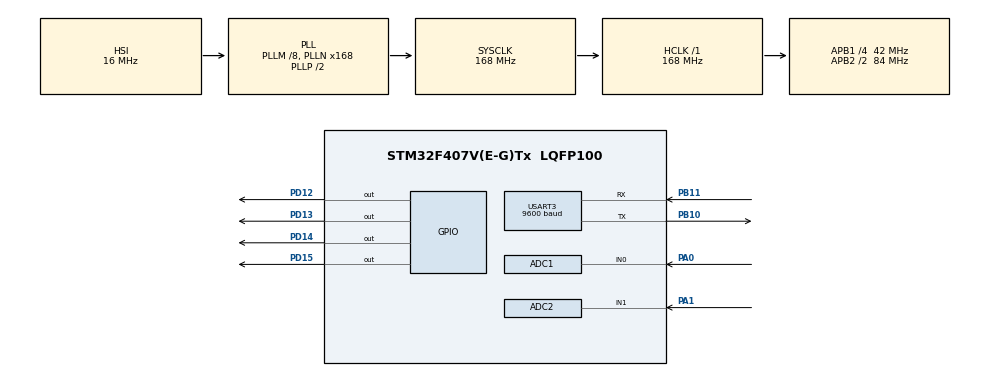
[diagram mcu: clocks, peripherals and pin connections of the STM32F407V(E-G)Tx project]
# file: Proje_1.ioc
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ADC1.Channel-0\#ChannelRegularConversion=ADC_CHANNEL_0
ADC1.Channel-1\#ChannelRegularConversion=ADC_CHANNEL_VREFINT
ADC1.Channel-2\#ChannelRegularConversion=ADC_CHANNEL_TEMPSENSOR
ADC1.ContinuousConvMode=ENABLE
ADC1.NbrOfConversion=3
ADC1.NbrOfConversionFlag=1
ADC1.Rank-0\#ChannelRegularConversion=1
ADC1.Rank-1\#ChannelRegularConversion=2
ADC1.Rank-2\#ChannelRegularConversion=3
ADC1.SamplingTime-0\#ChannelRegularConversion=ADC_SAMPLETIME_56CYCLES
ADC1.SamplingTime-1\#ChannelRegularConversion=ADC_SAMPLETIME_56CYCLES
ADC1.SamplingTime-2\#ChannelRegularConversion=ADC_SAMPLETIME_56CYCLES
ADC1.ScanConvMode=ENABLE
ADC1.master=1
ADC2.Channel-0\#ChannelRegularConversion=ADC_CHANNEL_1
ADC2.ContinuousConvMode=ENABLE
ADC2.NbrOfConversionFlag=1
ADC2.Rank-0\#ChannelRegularConversion=1
ADC2.SamplingTime-0\#ChannelRegularConversion=ADC_SAMPLETIME_56CYCLES
Mcu.Family=STM32F4
Mcu.Name=STM32F407V(E-G)Tx
Mcu.Package=LQFP100
NVIC.ADC_IRQn=true\:0\:0\:false\:false\:true\:true\:true\:true
NVIC.PriorityGroup=NVIC_PRIORITYGROUP_4
PA0-WKUP.Signal=ADCx_IN0
PA1.Signal=ADCx_IN1
PB10.Mode=Asynchronous
PB10.Signal=USART3_TX
PB11.Mode=Asynchronous
PB11.Signal=USART3_RX
PD12.Signal=GPIO_Output
PD13.Signal=GPIO_Output
PD14.Signal=GPIO_Output
PD15.Signal=GPIO_Output
PH0-OSC_IN.Mode=HSE-External-Oscillator
PH0-OSC_IN.Signal=RCC_OSC_IN
PH1-OSC_OUT.Mode=HSE-External-Oscillator
PH1-OSC_OUT.Signal=RCC_OSC_OUT
ProjectManager.HeapSize=0x200
ProjectManager.StackSize=0x400
ProjectManager.TargetToolchain=STM32CubeIDE
RCC.48MHZClocksFreq_Value=84000000
RCC.AHBFreq_Value=168000000
RCC.APB1CLKDivider=RCC_HCLK_DIV4
RCC.APB1Freq_Value=42000000
RCC.APB1TimFreq_Value=84000000
RCC.APB2CLKDivider=RCC_HCLK_DIV2
RCC.APB2Freq_Value=84000000
RCC.APB2TimFreq_Value=168000000
RCC.CortexFreq_Value=168000000
RCC.HCLKFreq_Value=168000000
RCC.HSE_VALUE=8000000
RCC.HSI_VALUE=16000000
RCC.LSE_VALUE=32768
RCC.PLLM=8
RCC.PLLN=168
RCC.SYSCLKFreq_VALUE=168000000
RCC.SYSCLKSource=RCC_SYSCLKSOURCE_PLLCLK
RCC.VCOOutputFreq_Value=336000000
SH.ADCx_IN0.0=ADC1_IN0,IN0
SH.ADCx_IN1.0=ADC2_IN1,IN1
USART3.BaudRate=9600
USART3.VirtualMode=VM_ASYNC
VP_ADC1_TempSens_Input.Mode=IN-TempSens
VP_ADC1_Vref_Input.Mode=IN-Vrefint
board=custom

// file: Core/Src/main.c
/* USER CODE BEGIN Header */
/**
  ******************************************************************************
  * @file           : main.c
  * @brief          : Main program body
  ******************************************************************************
  * @attention
  *
  * Copyright (c) 2023 STMicroelectronics.
  * All rights reserved.
  *
  * This software is licensed under terms that can be found in the LICENSE file
  * in the root directory of this software component.
  * If no LICENSE file comes with this software, it is provided AS-IS.
  *
  ******************************************************************************
  */
/* USER CODE END Header */
#include "main.h"
#include "string.h"
#include <stdio.h>
/* USER CODE BEGIN Includes */

//sıcaklık sensörü için gerekli tanımlamaları yaptım
#define VREFIN_CAL ((uint16_t*)((uint32_t)0x1FFF7A2A))
#define V25 (float) 0.76
#define Avg_slope (float) 0.0025  // 25mV=0.0025V

uint16_t adc1_value[3], adc2_value;   // adc2 okuma tek bir tane oldugu icin default zaten
float Vadc1=0 , Vadc2=0 , Vsense=0 , Vdda=0, temperature=0;
int count=0;

char buffer[20];

/* USER CODE END Includes */

ADC_HandleTypeDef hadc1;
ADC_HandleTypeDef hadc2;

UART_HandleTypeDef huart3;

void SystemClock_Config(void);
static void MX_GPIO_Init(void);
static void MX_ADC1_Init(void);
static void MX_ADC2_Init(void);
static void MX_USART3_UART_Init(void);

/* USER CODE BEGIN 0 */
void HAL_ADC_ConvCpltCallback(ADC_HandleTypeDef* hadc)

{
     if(__HAL_ADC_GET_FLAG(&hadc1, ADC_FLAG_EOC)!= RESET)
     {
        adc1_value[count] = HAL_ADC_GetValue(&hadc1);
        count++;
/*count=0 => channel 0
  count=1 => Vrefint channel
  count=2 => Temperature channel  */
        if(count==3)
          count=0;

        Vdda = (float) 3.3 * (*VREFIN_CAL) / adc1_value[1];
        Vadc1 = Vdda * adc1_value[0] / 4095;  /*12 bit oldugu icin 4095*/
        Vsense = Vdda * adc1_value[2] / 4095;

        temperature = ((Vsense-V25)/Avg_slope)+25;

     }

      if(__HAL_ADC_GET_FLAG(&hadc2, ADC_FLAG_EOC)!= RESET)
     {
       adc2_value = HAL_ADC_GetValue(&hadc2);

       Vadc2 = Vdda * adc2_value / 4095;

     }
}

/* USER CODE END 0 */

int main(void)
{

  /* MCU Configuration--------------------------------------------------------*/

  /* Reset of all peripherals, Initializes the Flash interface and the Systick. */
  HAL_Init();

  /* Configure the system clock */
  SystemClock_Config();

  /* Initialize all configured peripherals */
  MX_GPIO_Init();
  MX_ADC1_Init();
  MX_ADC2_Init();
  MX_USART3_UART_Init();
  /* USER CODE BEGIN 2 */

  HAL_ADC_Start_IT(&hadc1);
   HAL_ADC_Start_IT(&hadc2);

  /* USER CODE END 2 */

  /* Infinite loop */
  while (1)
  {

    /* USER CODE BEGIN 3 */

	                HAL_UART_Receive(&huart3,(uint8_t*)buffer , sizeof(buffer), 100);   //HAL_UART_Receive(&huart3,(uint8_t*)buffer , 20, 100);

	               if (strncmp(buffer, "temp", 4) == 0)
	               	  {

	                	 sprintf(buffer, "%.2f", temperature);

	             HAL_UART_Transmit(&huart3, (uint8_t*)buffer, sprintf(buffer, "%.2f\n", temperature), 100);
}

  //sprintf(buffer, "%.2f\n", temperature) ifadesi, buffer içine temperature değerini "%.2f\n" formatına göre formatlayarak yazıyor. sprintf() işlevi, formatlanmış verinin boyutunu döndürerek,
	               //bu boyutu HAL_UART_Transmit() işlevine aktarıyor. Böylece, formatlanmış veri huart3 üzerinden iletilmiş oluyor.

/*

HAL_UART_Receive(&huart3, (uint8_t*)buffer, sizeof(buffer), 1000);

	  if (strncmp(buffer, "temperature=?", 13) == 0)
	  	  {

		 HAL_GPIO_WritePin(GPIOD, GPIO_PIN_12 |GPIO_PIN_13|GPIO_PIN_14|GPIO_PIN_15, GPIO_PIN_SET);
		 HAL_Delay(500);

 HAL_UART_Transmit(&huart3, (uint8_t*)buffer, sprintf(buffer, "Temperature: %.2f \n", temperature),100);

	  	  }
*/
//	  int len = sprintf(temp, "Temperature: %.2f\r\n", temperature);
//	  HAL_UART_Transmit(&huart3, (uint8_t*)temp, len, 1000);

	/*  float temp;

	  HAL_UART_Receive(&huart3, (uint8_t *)&temperature, 100, 1000);

	  if (strncmp((const char *)&temperature, "temperature=?", 13) == 0)

	     {
	         HAL_GPIO_WritePin(GPIOD, GPIO_PIN_12 | GPIO_PIN_13 | GPIO_PIN_14 | GPIO_PIN_15, GPIO_PIN_SET);
	         HAL_Delay(500);

	         temp = temperature; // Sıcaklık değerini ölç

	         char response[20];

	         int len = sprintf(response, "Temperature: %.2f \n", (float)temp);

	         HAL_UART_Transmit(&huart3, (uint8_t*)response, len, 1000);
	     }
*/
  }

  /* USER CODE END 3 */
}

void SystemClock_Config(void)
{
  RCC_OscInitTypeDef RCC_OscInitStruct = {0};
  RCC_ClkInitTypeDef RCC_ClkInitStruct = {0};

  /** Configure the main internal regulator output voltage
  */
  __HAL_RCC_PWR_CLK_ENABLE();
  __HAL_PWR_VOLTAGESCALING_CONFIG(PWR_REGULATOR_VOLTAGE_SCALE1);

  /** Initializes the RCC Oscillators according to the specified parameters
  * in the RCC_OscInitTypeDef structure.
  */
  RCC_OscInitStruct.OscillatorType = RCC_OSCILLATORTYPE_HSI;
  RCC_OscInitStruct.HSIState = RCC_HSI_ON;
  RCC_OscInitStruct.HSICalibrationValue = RCC_HSICALIBRATION_DEFAULT;
  RCC_OscInitStruct.PLL.PLLState = RCC_PLL_ON;
  RCC_OscInitStruct.PLL.PLLSource = RCC_PLLSOURCE_HSI;
  RCC_OscInitStruct.PLL.PLLM = 8;
  RCC_OscInitStruct.PLL.PLLN = 168;
  RCC_OscInitStruct.PLL.PLLP = RCC_PLLP_DIV2;
  RCC_OscInitStruct.PLL.PLLQ = 4;
  if (HAL_RCC_OscConfig(&RCC_OscInitStruct) != HAL_OK)
  {
    Error_Handler();
  }

  /** Initializes the CPU, AHB and APB buses clocks
  */
  RCC_ClkInitStruct.ClockType = RCC_CLOCKTYPE_HCLK|RCC_CLOCKTYPE_SYSCLK
                              |RCC_CLOCKTYPE_PCLK1|RCC_CLOCKTYPE_PCLK2;
  RCC_ClkInitStruct.SYSCLKSource = RCC_SYSCLKSOURCE_PLLCLK;
  RCC_ClkInitStruct.AHBCLKDivider = RCC_SYSCLK_DIV1;
  RCC_ClkInitStruct.APB1CLKDivider = RCC_HCLK_DIV4;
  RCC_ClkInitStruct.APB2CLKDivider = RCC_HCLK_DIV2;

  if (HAL_RCC_ClockConfig(&RCC_ClkInitStruct, FLASH_LATENCY_5) != HAL_OK)
  {
    Error_Handler();
  }
}

static void MX_ADC1_Init(void)
{

  ADC_ChannelConfTypeDef sConfig = {0};

  /** Configure the global features of the ADC (Clock, Resolution, Data Alignment and number of conversion)
  */
  hadc1.Instance = ADC1;
  hadc1.Init.ClockPrescaler = ADC_CLOCK_SYNC_PCLK_DIV4;
  hadc1.Init.Resolution = ADC_RESOLUTION_12B;
  hadc1.Init.ScanConvMode = ENABLE;
  hadc1.Init.ContinuousConvMode = ENABLE;
  hadc1.Init.DiscontinuousConvMode = DISABLE;
  hadc1.Init.ExternalTrigConvEdge = ADC_EXTERNALTRIGCONVEDGE_NONE;
  hadc1.Init.ExternalTrigConv = ADC_SOFTWARE_START;
  hadc1.Init.DataAlign = ADC_DATAALIGN_RIGHT;
  hadc1.Init.NbrOfConversion = 3;
  hadc1.Init.DMAContinuousRequests = DISABLE;
  hadc1.Init.EOCSelection = ADC_EOC_SINGLE_CONV;
  if (HAL_ADC_Init(&hadc1) != HAL_OK)
  {
    Error_Handler();
  }

  /** Configure for the selected ADC regular channel its corresponding rank in the sequencer and its sample time.
  */
  sConfig.Channel = ADC_CHANNEL_0;
  sConfig.Rank = 1;
  sConfig.SamplingTime = ADC_SAMPLETIME_56CYCLES;
  if (HAL_ADC_ConfigChannel(&hadc1, &sConfig) != HAL_OK)
  {
    Error_Handler();
  }

  /** Configure for the selected ADC regular channel its corresponding rank in the sequencer and its sample time.
  */
  sConfig.Channel = ADC_CHANNEL_VREFINT;
  sConfig.Rank = 2;
  if (HAL_ADC_ConfigChannel(&hadc1, &sConfig) != HAL_OK)
  {
    Error_Handler();
  }

  /** Configure for the selected ADC regular channel its corresponding rank in the sequencer and its sample time.
  */
  sConfig.Channel = ADC_CHANNEL_TEMPSENSOR;
  sConfig.Rank = 3;
  if (HAL_ADC_ConfigChannel(&hadc1, &sConfig) != HAL_OK)
  {
    Error_Handler();
  }

}

static void MX_ADC2_Init(void)
{

  ADC_ChannelConfTypeDef sConfig = {0};

  /** Configure the global features of the ADC (Clock, Resolution, Data Alignment and number of conversion)
  */
  hadc2.Instance = ADC2;
  hadc2.Init.ClockPrescaler = ADC_CLOCK_SYNC_PCLK_DIV4;
  hadc2.Init.Resolution = ADC_RESOLUTION_12B;
  hadc2.Init.ScanConvMode = DISABLE;
  hadc2.Init.ContinuousConvMode = ENABLE;
  hadc2.Init.DiscontinuousConvMode = DISABLE;
  hadc2.Init.ExternalTrigConvEdge = ADC_EXTERNALTRIGCONVEDGE_NONE;
  hadc2.Init.ExternalTrigConv = ADC_SOFTWARE_START;
  hadc2.Init.DataAlign = ADC_DATAALIGN_RIGHT;
  hadc2.Init.NbrOfConversion = 1;
  hadc2.Init.DMAContinuousRequests = DISABLE;
  hadc2.Init.EOCSelection = ADC_EOC_SINGLE_CONV;
  if (HAL_ADC_Init(&hadc2) != HAL_OK)
  {
    Error_Handler();
  }

  /** Configure for the selected ADC regular channel its corresponding rank in the sequencer and its sample time.
  */
  sConfig.Channel = ADC_CHANNEL_1;
  sConfig.Rank = 1;
  sConfig.SamplingTime = ADC_SAMPLETIME_56CYCLES;
  if (HAL_ADC_ConfigChannel(&hadc2, &sConfig) != HAL_OK)
  {
    Error_Handler();
  }

}

static void MX_USART3_UART_Init(void)
{

  huart3.Instance = USART3;
  huart3.Init.BaudRate = 9600;
  huart3.Init.WordLength = UART_WORDLENGTH_8B;
  huart3.Init.StopBits = UART_STOPBITS_1;
  huart3.Init.Parity = UART_PARITY_NONE;
  huart3.Init.Mode = UART_MODE_TX_RX;
  huart3.Init.HwFlowCtl = UART_HWCONTROL_NONE;
  huart3.Init.OverSampling = UART_OVERSAMPLING_16;
  if (HAL_UART_Init(&huart3) != HAL_OK)
  {
    Error_Handler();
  }

}

static void MX_GPIO_Init(void)
{
  GPIO_InitTypeDef GPIO_InitStruct = {0};

  /* GPIO Ports Clock Enable */
  __HAL_RCC_GPIOH_CLK_ENABLE();
  __HAL_RCC_GPIOA_CLK_ENABLE();
  __HAL_RCC_GPIOB_CLK_ENABLE();
  __HAL_RCC_GPIOD_CLK_ENABLE();

  /*Configure GPIO pin Output Level */
  HAL_GPIO_WritePin(GPIOD, GPIO_PIN_12|GPIO_PIN_13|GPIO_PIN_14|GPIO_PIN_15, GPIO_PIN_RESET);

  /*Configure GPIO pins : PD12 PD13 PD14 PD15 */
  GPIO_InitStruct.Pin = GPIO_PIN_12|GPIO_PIN_13|GPIO_PIN_14|GPIO_PIN_15;
  GPIO_InitStruct.Mode = GPIO_MODE_OUTPUT_PP;
  GPIO_InitStruct.Pull = GPIO_NOPULL;
  GPIO_InitStruct.Speed = GPIO_SPEED_FREQ_LOW;
  HAL_GPIO_Init(GPIOD, &GPIO_InitStruct);

}

void Error_Handler(void)
{
  __disable_irq();
  while (1)
  {
  }
}
